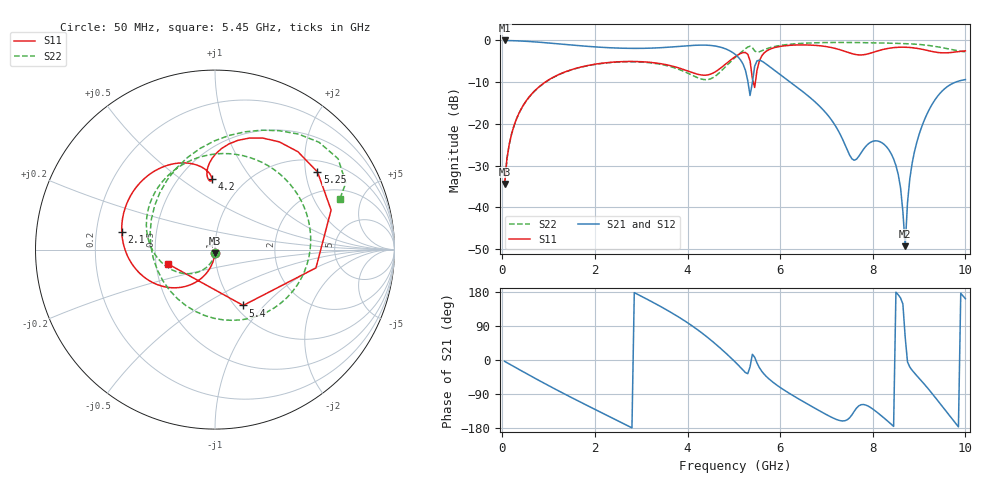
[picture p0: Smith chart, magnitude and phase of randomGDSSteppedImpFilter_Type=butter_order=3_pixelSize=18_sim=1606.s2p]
! freq	dB(S11)	phase(S11)	dB(S12)	phase(S12)
!  dB(S21)	phase(S21)	dB(S22)	phase(S22)
!S-par simulation data
#  GHz  S  DB  R 50
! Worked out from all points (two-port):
!   200 points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, 50 MHz to 10 GHz, reference 50 ohm
!   highest |S21| = -0.01 dB at 50 MHz (marker M1); lowest = -49.3 dB at 8.7 GHz (marker M2)
!   |S21| within 3 dB of the highest: start of sweep to 4.988 GHz
!   lowest |S11| = -34.4 dB at 50 MHz (marker M3), VSWR 1.04, Z = 49.9 - j1.9 ohm
!   |S11| at or under -10 dB: start of sweep to 927.5 MHz; 5.42 GHz to 5.466 GHz (45.9 MHz wide, 0.843 % of centre)
!   |S22| runs from -34.4 to -0.5 dB; largest |S21 - S12| = 0
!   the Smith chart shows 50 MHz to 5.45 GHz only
!   S11 on the Smith chart (normalised r, x): 50 MHz: 1.00, -0.04; 2.1 GHz: 0.31, +0.08; 4.2 GHz: 0.71, +0.66; 5.25 GHz: 1.31, +2.33; 5.4 GHz: 1.09, -0.77; 5.45 GHz: 0.58, -0.10
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0.05  -34.39 -92.4  -0.01 -3.5  -0.01 -3.5  -34.43 -94.1
0.5  -14.75 -116.4  -0.20 -34.4  -0.20 -34.4  -14.79 -133.3
1.75  -6.24 -175.5  -1.34 -115.0  -1.34 -115.0  -6.29 124.5
2.1  -5.54 169.4  -1.62 -136.4  -1.62 -136.4  -5.59 96.9
3.4  -5.54 114.8  -1.76 142.4  -1.76 142.4  -5.69 -9.3
4.2  -8.05 92.5  -1.14 81.4  -1.14 81.4  -8.85 -108.0
5.05  -3.74 72.9  -3.53 -7.8  -3.53 -7.8  -3.87 83.0
5.25  -2.90 37.1  -7.15 -33.1  -7.15 -33.1  -2.00 54.0
5.4  -9.16 -63.2  -10.13 15.1  -10.13 15.1  -1.74 27.0
5.45  -11.29 -162.7  -6.18 7.1  -6.18 7.1  -2.50 22.1
5.75  -2.26 69.3  -6.09 -49.1  -6.09 -49.1  -1.84 6.9
6.7  -1.14 -26.9  -14.20 -123.8  -14.20 -123.8  -0.58 -51.1
7.2  -1.95 -91.4  -20.59 -156.2  -20.59 -156.2  -0.49 -74.9
7.6  -3.30 -176.3  -28.73 -135.3  -28.73 -135.3  -0.50 -92.6
7.95  -3.05 88.8  -24.43 -125.2  -24.43 -125.2  -0.56 -107.9
8.35  -1.87 5.2  -26.27 -164.2  -26.27 -164.2  -0.65 -126.1
8.6  -1.62 -36.5  -35.36 163.6  -35.36 163.6  -0.73 -138.6
8.7  -1.63 -52.8  -49.33 60.3  -49.33 60.3  -0.77 -144.0
8.9  -1.81 -87.0  -26.69 -34.5  -26.69 -34.5  -0.88 -155.8
9.35  -2.79 176.7  -14.13 -99.0  -14.13 -99.0  -1.43 171.2
9.65  -2.93 104.9  -10.77 -146.1  -10.77 -146.1  -2.06 141.7
10  -2.50 42.2  -9.38 161.6  -9.38 161.6  -2.76 94.3
